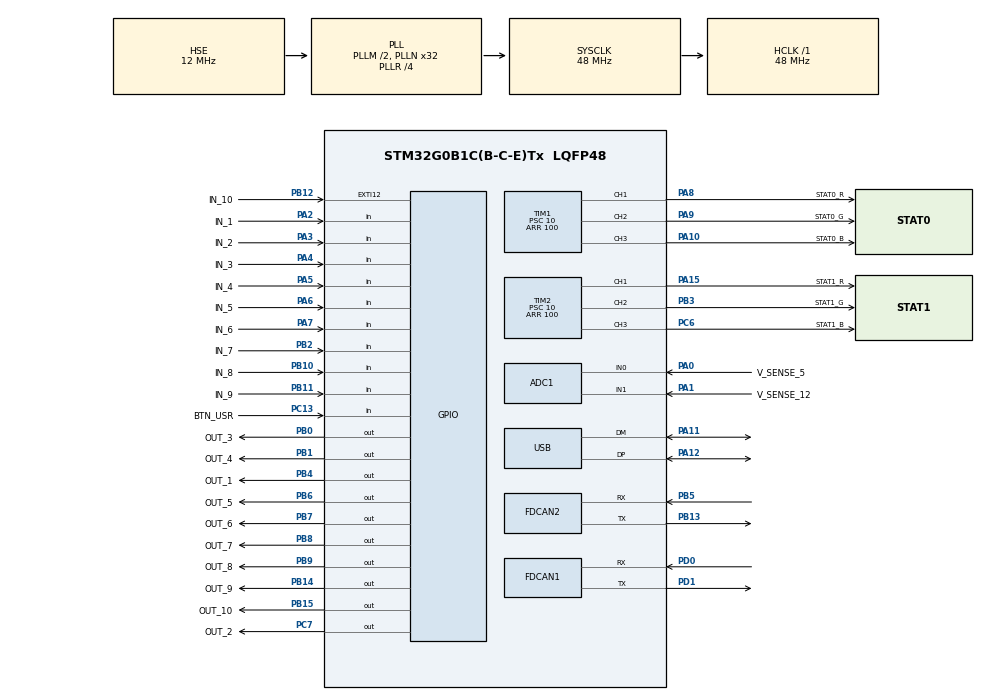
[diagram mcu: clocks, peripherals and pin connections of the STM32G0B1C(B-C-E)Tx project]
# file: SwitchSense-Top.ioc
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ADC1.ContinuousConvMode=ENABLE
ADC1.DMAContinuousRequests=ENABLE
ADC1.NbrOfConversion=1
ADC1.NbrOfConversionFlag=0
ADC1.OversamplingMode=ENABLE
ADC1.Ratio=ADC_OVERSAMPLING_RATIO_64
ADC1.RightBitShift=ADC_RIGHTBITSHIFT_2
ADC1.SamplingTimeCommon1=ADC_SAMPLETIME_7CYCLES_5
ADC1.SelectedChannel=ADC_CHANNEL_0|ADC_CHANNEL_1|ADC_CHANNEL_TEMPSENSOR|ADC_CHANNEL_VREFINT
ADC1.Sequencer=NOT_FULLY_CONFIGURABLE
ADC1.master=1
Dma.ADC1.0.Direction=DMA_PERIPH_TO_MEMORY
Dma.ADC1.0.EventEnable=DISABLE
Dma.ADC1.0.Instance=DMA1_Channel1
Dma.ADC1.0.MemDataAlignment=DMA_MDATAALIGN_HALFWORD
Dma.ADC1.0.MemInc=DMA_MINC_ENABLE
Dma.ADC1.0.Mode=DMA_CIRCULAR
Dma.ADC1.0.PeriphDataAlignment=DMA_PDATAALIGN_HALFWORD
Dma.ADC1.0.PeriphInc=DMA_PINC_DISABLE
Dma.ADC1.0.Polarity=HAL_DMAMUX_REQ_GEN_RISING
Dma.ADC1.0.Priority=DMA_PRIORITY_HIGH
Dma.ADC1.0.RequestNumber=1
Dma.ADC1.0.SignalID=NONE
Dma.ADC1.0.SyncEnable=DISABLE
Dma.ADC1.0.SyncPolarity=HAL_DMAMUX_SYNC_NO_EVENT
Dma.ADC1.0.SyncRequestNumber=1
Dma.ADC1.0.SyncSignalID=NONE
Dma.Request0=ADC1
FDCAN1.CalculateBaudRateNominal=250000
FDCAN1.CalculateTimeBitNominal=4000
FDCAN1.CalculateTimeQuantumNominal=250.0
FDCAN1.NominalPrescaler=12
FDCAN1.NominalTimeSeg1=13
FDCAN1.NominalTimeSeg2=2
FDCAN2.CalculateBaudRateNominal=500000
FDCAN2.CalculateTimeBitNominal=2000
FDCAN2.CalculateTimeQuantumNominal=125.0
FDCAN2.NominalPrescaler=6
FDCAN2.NominalTimeSeg1=13
FDCAN2.NominalTimeSeg2=2
Mcu.Family=STM32G0
Mcu.Name=STM32G0B1C(B-C-E)Tx
Mcu.Package=LQFP48
NVIC.ADC1_COMP_IRQn=true\:0\:0\:false\:false\:true\:true\:true\:true
NVIC.DMA1_Channel1_IRQn=true\:0\:0\:false\:false\:true\:false\:true\:true
NVIC.EXTI4_15_IRQn=true\:0\:0\:false\:false\:true\:true\:true\:true
NVIC.TIM16_FDCAN_IT0_IRQn=true\:0\:0\:false\:false\:true\:true\:true\:true
NVIC.TIM17_FDCAN_IT1_IRQn=true\:0\:0\:false\:false\:true\:true\:true\:true
PA0.GPIO_Label=V_SENSE_5
PA0.Mode=IN0
PA0.Signal=ADC1_IN0
PA1.GPIO_Label=V_SENSE_12
PA1.Mode=IN1
PA1.Signal=ADC1_IN1
PA10.GPIO_Label=STAT0_B
PA10.Signal=S_TIM1_CH3
PA11\ [PA9].Mode=Device
PA11\ [PA9].Signal=USB_DM
PA12\ [PA10].Mode=Device
PA12\ [PA10].Signal=USB_DP
PA13.Mode=Serial_Wire
PA13.Signal=SYS_SWDIO
PA14-BOOT0.Mode=Serial_Wire
PA14-BOOT0.Signal=SYS_SWCLK
PA15.GPIO_Label=STAT1_R
PA15.Signal=S_TIM2_CH1_ETR
PA2.GPIO_Label=IN_1
PA2.Signal=GPIO_Input
PA3.GPIO_Label=IN_2
PA3.Signal=GPIO_Input
PA4.GPIO_Label=IN_3
PA4.Signal=GPIO_Input
PA5.GPIO_Label=IN_4
PA5.Signal=GPIO_Input
PA6.GPIO_Label=IN_5
PA6.Signal=GPIO_Input
PA7.GPIO_Label=IN_6
PA7.Signal=GPIO_Input
PA8.GPIO_Label=STAT0_R
PA8.Signal=S_TIM1_CH1
PA9.GPIO_Label=STAT0_G
PA9.Signal=S_TIM1_CH2
PB0.GPIO_Label=OUT_3
PB0.Signal=GPIO_Output
PB1.GPIO_Label=OUT_4
PB1.Signal=GPIO_Output
PB10.GPIO_Label=IN_8
PB10.Signal=GPIO_Input
PB11.GPIO_Label=IN_9
PB11.Signal=GPIO_Input
PB12.GPIO_Label=IN_10
PB12.Signal=GPXTI12
PB13.Mode=FDCAN_Activate
PB13.Signal=FDCAN2_TX
PB14.GPIO_Label=OUT_9
PB14.Signal=GPIO_Output
PB15.GPIO_Label=OUT_10
PB15.Signal=GPIO_Output
PB2.GPIO_Label=IN_7
PB2.Signal=GPIO_Input
PB3.GPIO_Label=STAT1_G
PB3.Signal=S_TIM2_CH2
PB4.GPIO_Label=OUT_1
PB4.Signal=GPIO_Output
PB5.Mode=FDCAN_Activate
PB5.Signal=FDCAN2_RX
PB6.GPIO_Label=OUT_5
PB6.Signal=GPIO_Output
PB7.GPIO_Label=OUT_6
PB7.Signal=GPIO_Output
PB8.GPIO_Label=OUT_7
PB8.Signal=GPIO_Output
PB9.GPIO_Label=OUT_8
PB9.Signal=GPIO_Output
PC13.GPIO_Label=BTN_USR
PC13.Signal=GPIO_Input
PC6.GPIO_Label=STAT1_B
PC6.Signal=S_TIM2_CH3
PC7.GPIO_Label=OUT_2
PC7.Signal=GPIO_Output
PD0.Mode=FDCAN_Activate
PD0.Signal=FDCAN1_RX
PD1.Mode=FDCAN_Activate
PD1.Signal=FDCAN1_TX
PF0-OSC_IN\ (PF0).Mode=HSE-External-Oscillator
PF0-OSC_IN\ (PF0).Signal=RCC_OSC_IN
PF1-OSC_OUT\ (PF1).Mode=HSE-External-Oscillator
PF1-OSC_OUT\ (PF1).Signal=RCC_OSC_OUT
ProjectManager.HeapSize=0x200
ProjectManager.StackSize=0x400
ProjectManager.TargetToolchain=CMake
RCC.ADCFreq_Value=48000000
RCC.AHBFreq_Value=48000000
RCC.CortexFreq_Value=48000000
RCC.EXTERNAL_CLOCK_VALUE=48000
RCC.HCLKFreq_Value=48000000
RCC.HSE_VALUE=12000000
RCC.HSI48_VALUE=48000000
RCC.HSI_VALUE=16000000
RCC.PLLM=RCC_PLLM_DIV2
RCC.PLLN=32
RCC.PLLR=RCC_PLLR_DIV4
RCC.PLLSourceVirtual=RCC_PLLSOURCE_HSE
RCC.SYSCLKFreq_VALUE=48000000
RCC.SYSCLKSource=RCC_SYSCLKSOURCE_PLLCLK
RCC.USBFreq_Value=48000000
RCC.VCOOutputFreq_Value=192000000
SH.S_TIM1_CH1.0=TIM1_CH1,PWM Generation1 CH1
SH.S_TIM1_CH2.0=TIM1_CH2,PWM Generation2 CH2
SH.S_TIM1_CH3.0=TIM1_CH3,PWM Generation3 CH3
SH.S_TIM2_CH1_ETR.0=TIM2_CH1,PWM Generation1 CH1
SH.S_TIM2_CH2.0=TIM2_CH2,PWM Generation2 CH2
SH.S_TIM2_CH3.0=TIM2_CH3,PWM Generation3 CH3
TIM1.Channel-PWM\ Generation1\ CH1=TIM_CHANNEL_1
TIM1.Channel-PWM\ Generation2\ CH2=TIM_CHANNEL_2
TIM1.Channel-PWM\ Generation3\ CH3=TIM_CHANNEL_3
TIM1.Period=100
TIM1.Prescaler=10
TIM2.Channel-PWM\ Generation1\ CH1=TIM_CHANNEL_1
TIM2.Channel-PWM\ Generation2\ CH2=TIM_CHANNEL_2
TIM2.Channel-PWM\ Generation3\ CH3=TIM_CHANNEL_3
TIM2.Period=100
TIM2.Prescaler=10
TIM6.Period=9999
TIM6.Prescaler=479
VP_ADC1_TempSens_Input.Mode=IN-TempSens
VP_ADC1_Vref_Input.Mode=IN-Vrefint
VP_SYS_VS_DBSignals.Mode=DisableDeadBatterySignals
VP_TIM6_VS_ClockSourceINT.Mode=Enable_Timer
board=custom

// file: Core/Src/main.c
/* USER CODE BEGIN Header */
/**
  ******************************************************************************
  * @file           : main.c
  * @brief          : Main program body
  ******************************************************************************
  * @attention
  *
  * Copyright (c) 2026 STMicroelectronics.
  * All rights reserved.
  *
  * This software is licensed under terms that can be found in the LICENSE file
  * in the root directory of this software component.
  * If no LICENSE file comes with this software, it is provided AS-IS.
  *
  ******************************************************************************
  */
/* USER CODE END Header */
#include "main.h"

/* USER CODE BEGIN Includes */

#include "LV3_CAN.h"

/* USER CODE END Includes */

ADC_HandleTypeDef hadc1;
DMA_HandleTypeDef hdma_adc1;

FDCAN_HandleTypeDef hfdcan1;
FDCAN_HandleTypeDef hfdcan2;

TIM_HandleTypeDef htim1;
TIM_HandleTypeDef htim2;
TIM_HandleTypeDef htim6;

PCD_HandleTypeDef hpcd_USB_DRD_FS;

/* USER CODE BEGIN PV */

// --- LV3 CAN bindings (module id 20) ---
uint32_t sw_service_brake_val = 0;
uint32_t signal_left_val = 0;
uint32_t signal_right_val = 0;
uint32_t hv_fault_val = 0;

const LV3_CAN_Binding lv3_can_bindings[] = {
    {&sw_service_brake_val, sw_service_brake, LV3_CAN_BindMode_Read},
    {&signal_left_val, signal_left, LV3_CAN_BindMode_Read},
    {&signal_right_val, signal_right, LV3_CAN_BindMode_Read},
    {&hv_fault_val, hv_fault, LV3_CAN_BindMode_Read},
};
const unsigned int lv3_can_bindings_count = sizeof(lv3_can_bindings) / sizeof(LV3_CAN_Binding);
/* USER CODE END PV */

void SystemClock_Config(void);
static void MX_GPIO_Init(void);
static void MX_DMA_Init(void);
static void MX_FDCAN1_Init(void);
static void MX_USB_DRD_FS_PCD_Init(void);
static void MX_TIM1_Init(void);
static void MX_TIM2_Init(void);
static void MX_ADC1_Init(void);
static void MX_FDCAN2_Init(void);
static void MX_TIM6_Init(void);

int main(void)
{

  /* MCU Configuration--------------------------------------------------------*/

  /* Reset of all peripherals, Initializes the Flash interface and the Systick. */
  HAL_Init();

  /* Configure the system clock */
  SystemClock_Config();

  /* Initialize all configured peripherals */
  MX_GPIO_Init();
  MX_DMA_Init();
  MX_FDCAN1_Init();
  MX_USB_DRD_FS_PCD_Init();
  MX_TIM1_Init();
  MX_TIM2_Init();
  MX_ADC1_Init();
  MX_FDCAN2_Init();
  MX_TIM6_Init();
  /* USER CODE BEGIN 2 */

  LV3_CAN_Init(20, LV3_CAN_BusMode_Normal, lv3_can_bindings, lv3_can_bindings_count);

  /* USER CODE END 2 */

  /* Infinite loop */
  while (1)
  {

    /* USER CODE BEGIN 3 */

    // --- LV3 CAN ---
    LV3_CAN_Loop();

    // --- Apply outputs ---
    // Brake lights
    HAL_GPIO_WritePin(OUT_1_GPIO_Port, OUT_1_Pin, sw_service_brake_val);
    HAL_GPIO_WritePin(OUT_3_GPIO_Port, OUT_3_Pin, sw_service_brake_val);
    HAL_GPIO_WritePin(OUT_5_GPIO_Port, OUT_5_Pin, sw_service_brake_val);

    // Turn signals
    HAL_GPIO_WritePin(OUT_2_GPIO_Port, OUT_2_Pin, signal_left_val);
    HAL_GPIO_WritePin(OUT_7_GPIO_Port, OUT_7_Pin, signal_left_val);
    HAL_GPIO_WritePin(OUT_4_GPIO_Port, OUT_4_Pin, signal_right_val);
    HAL_GPIO_WritePin(OUT_8_GPIO_Port, OUT_8_Pin, signal_right_val);

    // HV fault indicator
    if (hv_fault_val) {
      HAL_GPIO_WritePin(OUT_6_GPIO_Port, OUT_6_Pin, (HAL_GetTick() / 200) % 2);
    } else {
      HAL_GPIO_WritePin(OUT_6_GPIO_Port, OUT_6_Pin, GPIO_PIN_RESET);
    }
  }
  /* USER CODE END 3 */
}

void SystemClock_Config(void)
{
  RCC_OscInitTypeDef RCC_OscInitStruct = {0};
  RCC_ClkInitTypeDef RCC_ClkInitStruct = {0};

  /** Configure the main internal regulator output voltage
  */
  HAL_PWREx_ControlVoltageScaling(PWR_REGULATOR_VOLTAGE_SCALE1);

  /** Initializes the RCC Oscillators according to the specified parameters
  * in the RCC_OscInitTypeDef structure.
  */
  RCC_OscInitStruct.OscillatorType = RCC_OSCILLATORTYPE_HSE|RCC_OSCILLATORTYPE_HSI48;
  RCC_OscInitStruct.HSEState = RCC_HSE_ON;
  RCC_OscInitStruct.HSI48State = RCC_HSI48_ON;
  RCC_OscInitStruct.PLL.PLLState = RCC_PLL_ON;
  RCC_OscInitStruct.PLL.PLLSource = RCC_PLLSOURCE_HSE;
  RCC_OscInitStruct.PLL.PLLM = RCC_PLLM_DIV2;
  RCC_OscInitStruct.PLL.PLLN = 32;
  RCC_OscInitStruct.PLL.PLLP = RCC_PLLP_DIV2;
  RCC_OscInitStruct.PLL.PLLQ = RCC_PLLQ_DIV2;
  RCC_OscInitStruct.PLL.PLLR = RCC_PLLR_DIV4;
  if (HAL_RCC_OscConfig(&RCC_OscInitStruct) != HAL_OK)
  {
    Error_Handler();
  }

  /** Initializes the CPU, AHB and APB buses clocks
  */
  RCC_ClkInitStruct.ClockType = RCC_CLOCKTYPE_HCLK|RCC_CLOCKTYPE_SYSCLK
                              |RCC_CLOCKTYPE_PCLK1;
  RCC_ClkInitStruct.SYSCLKSource = RCC_SYSCLKSOURCE_PLLCLK;
  RCC_ClkInitStruct.AHBCLKDivider = RCC_SYSCLK_DIV1;
  RCC_ClkInitStruct.APB1CLKDivider = RCC_HCLK_DIV1;

  if (HAL_RCC_ClockConfig(&RCC_ClkInitStruct, FLASH_LATENCY_1) != HAL_OK)
  {
    Error_Handler();
  }
}

static void MX_ADC1_Init(void)
{

  ADC_ChannelConfTypeDef sConfig = {0};

  /** Configure the global features of the ADC (Clock, Resolution, Data Alignment and number of conversion)
  */
  hadc1.Instance = ADC1;
  hadc1.Init.ClockPrescaler = ADC_CLOCK_SYNC_PCLK_DIV2;
  hadc1.Init.Resolution = ADC_RESOLUTION_12B;
  hadc1.Init.DataAlign = ADC_DATAALIGN_RIGHT;
  hadc1.Init.ScanConvMode = ADC_SCAN_SEQ_FIXED;
  hadc1.Init.EOCSelection = ADC_EOC_SINGLE_CONV;
  hadc1.Init.LowPowerAutoWait = DISABLE;
  hadc1.Init.LowPowerAutoPowerOff = DISABLE;
  hadc1.Init.ContinuousConvMode = ENABLE;
  hadc1.Init.NbrOfConversion = 1;
  hadc1.Init.ExternalTrigConv = ADC_SOFTWARE_START;
  hadc1.Init.ExternalTrigConvEdge = ADC_EXTERNALTRIGCONVEDGE_NONE;
  hadc1.Init.DMAContinuousRequests = ENABLE;
  hadc1.Init.Overrun = ADC_OVR_DATA_PRESERVED;
  hadc1.Init.SamplingTimeCommon1 = ADC_SAMPLETIME_7CYCLES_5;
  hadc1.Init.OversamplingMode = ENABLE;
  hadc1.Init.Oversampling.Ratio = ADC_OVERSAMPLING_RATIO_64;
  hadc1.Init.Oversampling.RightBitShift = ADC_RIGHTBITSHIFT_2;
  hadc1.Init.Oversampling.TriggeredMode = ADC_TRIGGEREDMODE_SINGLE_TRIGGER;
  hadc1.Init.TriggerFrequencyMode = ADC_TRIGGER_FREQ_HIGH;
  if (HAL_ADC_Init(&hadc1) != HAL_OK)
  {
    Error_Handler();
  }

  /** Configure Regular Channel
  */
  sConfig.Channel = ADC_CHANNEL_0;
  sConfig.Rank = ADC_RANK_CHANNEL_NUMBER;
  if (HAL_ADC_ConfigChannel(&hadc1, &sConfig) != HAL_OK)
  {
    Error_Handler();
  }

  /** Configure Regular Channel
  */
  sConfig.Channel = ADC_CHANNEL_1;
  if (HAL_ADC_ConfigChannel(&hadc1, &sConfig) != HAL_OK)
  {
    Error_Handler();
  }

  /** Configure Regular Channel
  */
  sConfig.Channel = ADC_CHANNEL_TEMPSENSOR;
  if (HAL_ADC_ConfigChannel(&hadc1, &sConfig) != HAL_OK)
  {
    Error_Handler();
  }

  /** Configure Regular Channel
  */
  sConfig.Channel = ADC_CHANNEL_VREFINT;
  if (HAL_ADC_ConfigChannel(&hadc1, &sConfig) != HAL_OK)
  {
    Error_Handler();
  }

}

static void MX_FDCAN1_Init(void)
{

  hfdcan1.Instance = FDCAN1;
  hfdcan1.Init.ClockDivider = FDCAN_CLOCK_DIV1;
  hfdcan1.Init.FrameFormat = FDCAN_FRAME_CLASSIC;
  hfdcan1.Init.Mode = FDCAN_MODE_NORMAL;
  hfdcan1.Init.AutoRetransmission = DISABLE;
  hfdcan1.Init.TransmitPause = DISABLE;
  hfdcan1.Init.ProtocolException = DISABLE;
  hfdcan1.Init.NominalPrescaler = 12;
  hfdcan1.Init.NominalSyncJumpWidth = 1;
  hfdcan1.Init.NominalTimeSeg1 = 13;
  hfdcan1.Init.NominalTimeSeg2 = 2;
  hfdcan1.Init.DataPrescaler = 1;
  hfdcan1.Init.DataSyncJumpWidth = 1;
  hfdcan1.Init.DataTimeSeg1 = 1;
  hfdcan1.Init.DataTimeSeg2 = 1;
  hfdcan1.Init.StdFiltersNbr = 0;
  hfdcan1.Init.ExtFiltersNbr = 0;
  hfdcan1.Init.TxFifoQueueMode = FDCAN_TX_FIFO_OPERATION;
  if (HAL_FDCAN_Init(&hfdcan1) != HAL_OK)
  {
    Error_Handler();
  }

}

static void MX_FDCAN2_Init(void)
{

  hfdcan2.Instance = FDCAN2;
  hfdcan2.Init.ClockDivider = FDCAN_CLOCK_DIV1;
  hfdcan2.Init.FrameFormat = FDCAN_FRAME_CLASSIC;
  hfdcan2.Init.Mode = FDCAN_MODE_NORMAL;
  hfdcan2.Init.AutoRetransmission = DISABLE;
  hfdcan2.Init.TransmitPause = DISABLE;
  hfdcan2.Init.ProtocolException = DISABLE;
  hfdcan2.Init.NominalPrescaler = 6;
  hfdcan2.Init.NominalSyncJumpWidth = 1;
  hfdcan2.Init.NominalTimeSeg1 = 13;
  hfdcan2.Init.NominalTimeSeg2 = 2;
  hfdcan2.Init.DataPrescaler = 1;
  hfdcan2.Init.DataSyncJumpWidth = 1;
  hfdcan2.Init.DataTimeSeg1 = 1;
  hfdcan2.Init.DataTimeSeg2 = 1;
  hfdcan2.Init.StdFiltersNbr = 0;
  hfdcan2.Init.ExtFiltersNbr = 0;
  hfdcan2.Init.TxFifoQueueMode = FDCAN_TX_FIFO_OPERATION;
  if (HAL_FDCAN_Init(&hfdcan2) != HAL_OK)
  {
    Error_Handler();
  }

}

static void MX_TIM1_Init(void)
{

  TIM_MasterConfigTypeDef sMasterConfig = {0};
  TIM_OC_InitTypeDef sConfigOC = {0};
  TIM_BreakDeadTimeConfigTypeDef sBreakDeadTimeConfig = {0};

  htim1.Instance = TIM1;
  htim1.Init.Prescaler = 10;
  htim1.Init.CounterMode = TIM_COUNTERMODE_UP;
  htim1.Init.Period = 100;
  htim1.Init.ClockDivision = TIM_CLOCKDIVISION_DIV1;
  htim1.Init.RepetitionCounter = 0;
  htim1.Init.AutoReloadPreload = TIM_AUTORELOAD_PRELOAD_DISABLE;
  if (HAL_TIM_PWM_Init(&htim1) != HAL_OK)
  {
    Error_Handler();
  }
  sMasterConfig.MasterOutputTrigger = TIM_TRGO_RESET;
  sMasterConfig.MasterOutputTrigger2 = TIM_TRGO2_RESET;
  sMasterConfig.MasterSlaveMode = TIM_MASTERSLAVEMODE_DISABLE;
  if (HAL_TIMEx_MasterConfigSynchronization(&htim1, &sMasterConfig) != HAL_OK)
  {
    Error_Handler();
  }
  sConfigOC.OCMode = TIM_OCMODE_PWM1;
  sConfigOC.Pulse = 0;
  sConfigOC.OCPolarity = TIM_OCPOLARITY_HIGH;
  sConfigOC.OCNPolarity = TIM_OCNPOLARITY_HIGH;
  sConfigOC.OCFastMode = TIM_OCFAST_DISABLE;
  sConfigOC.OCIdleState = TIM_OCIDLESTATE_RESET;
  sConfigOC.OCNIdleState = TIM_OCNIDLESTATE_RESET;
  if (HAL_TIM_PWM_ConfigChannel(&htim1, &sConfigOC, TIM_CHANNEL_1) != HAL_OK)
  {
    Error_Handler();
  }
  if (HAL_TIM_PWM_ConfigChannel(&htim1, &sConfigOC, TIM_CHANNEL_2) != HAL_OK)
  {
    Error_Handler();
  }
  if (HAL_TIM_PWM_ConfigChannel(&htim1, &sConfigOC, TIM_CHANNEL_3) != HAL_OK)
  {
    Error_Handler();
  }
  sBreakDeadTimeConfig.OffStateRunMode = TIM_OSSR_DISABLE;
  sBreakDeadTimeConfig.OffStateIDLEMode = TIM_OSSI_DISABLE;
  sBreakDeadTimeConfig.LockLevel = TIM_LOCKLEVEL_OFF;
  sBreakDeadTimeConfig.DeadTime = 0;
  sBreakDeadTimeConfig.BreakState = TIM_BREAK_DISABLE;
  sBreakDeadTimeConfig.BreakPolarity = TIM_BREAKPOLARITY_HIGH;
  sBreakDeadTimeConfig.BreakFilter = 0;
  sBreakDeadTimeConfig.BreakAFMode = TIM_BREAK_AFMODE_INPUT;
  sBreakDeadTimeConfig.Break2State = TIM_BREAK2_DISABLE;
  sBreakDeadTimeConfig.Break2Polarity = TIM_BREAK2POLARITY_HIGH;
  sBreakDeadTimeConfig.Break2Filter = 0;
  sBreakDeadTimeConfig.Break2AFMode = TIM_BREAK_AFMODE_INPUT;
  sBreakDeadTimeConfig.AutomaticOutput = TIM_AUTOMATICOUTPUT_DISABLE;
  if (HAL_TIMEx_ConfigBreakDeadTime(&htim1, &sBreakDeadTimeConfig) != HAL_OK)
  {
    Error_Handler();
  }
  HAL_TIM_MspPostInit(&htim1);

}

static void MX_TIM2_Init(void)
{

  TIM_MasterConfigTypeDef sMasterConfig = {0};
  TIM_OC_InitTypeDef sConfigOC = {0};

  htim2.Instance = TIM2;
  htim2.Init.Prescaler = 10;
  htim2.Init.CounterMode = TIM_COUNTERMODE_UP;
  htim2.Init.Period = 100;
  htim2.Init.ClockDivision = TIM_CLOCKDIVISION_DIV1;
  htim2.Init.AutoReloadPreload = TIM_AUTORELOAD_PRELOAD_DISABLE;
  if (HAL_TIM_PWM_Init(&htim2) != HAL_OK)
  {
    Error_Handler();
  }
  sMasterConfig.MasterOutputTrigger = TIM_TRGO_RESET;
  sMasterConfig.MasterSlaveMode = TIM_MASTERSLAVEMODE_DISABLE;
  if (HAL_TIMEx_MasterConfigSynchronization(&htim2, &sMasterConfig) != HAL_OK)
  {
    Error_Handler();
  }
  sConfigOC.OCMode = TIM_OCMODE_PWM1;
  sConfigOC.Pulse = 0;
  sConfigOC.OCPolarity = TIM_OCPOLARITY_HIGH;
  sConfigOC.OCFastMode = TIM_OCFAST_DISABLE;
  if (HAL_TIM_PWM_ConfigChannel(&htim2, &sConfigOC, TIM_CHANNEL_1) != HAL_OK)
  {
    Error_Handler();
  }
  if (HAL_TIM_PWM_ConfigChannel(&htim2, &sConfigOC, TIM_CHANNEL_2) != HAL_OK)
  {
    Error_Handler();
  }
  if (HAL_TIM_PWM_ConfigChannel(&htim2, &sConfigOC, TIM_CHANNEL_3) != HAL_OK)
  {
    Error_Handler();
  }
  HAL_TIM_MspPostInit(&htim2);

}

static void MX_TIM6_Init(void)
{

  TIM_MasterConfigTypeDef sMasterConfig = {0};

  htim6.Instance = TIM6;
  htim6.Init.Prescaler = 479;
  htim6.Init.CounterMode = TIM_COUNTERMODE_UP;
  htim6.Init.Period = 9999;
  htim6.Init.AutoReloadPreload = TIM_AUTORELOAD_PRELOAD_DISABLE;
  if (HAL_TIM_Base_Init(&htim6) != HAL_OK)
  {
    Error_Handler();
  }
  sMasterConfig.MasterOutputTrigger = TIM_TRGO_RESET;
  sMasterConfig.MasterSlaveMode = TIM_MASTERSLAVEMODE_DISABLE;
  if (HAL_TIMEx_MasterConfigSynchronization(&htim6, &sMasterConfig) != HAL_OK)
  {
    Error_Handler();
  }

}

static void MX_USB_DRD_FS_PCD_Init(void)
{

  hpcd_USB_DRD_FS.Instance = USB_DRD_FS;
  hpcd_USB_DRD_FS.Init.dev_endpoints = 8;
  hpcd_USB_DRD_FS.Init.Host_channels = 8;
  hpcd_USB_DRD_FS.Init.speed = PCD_SPEED_FULL;
  hpcd_USB_DRD_FS.Init.phy_itface = PCD_PHY_EMBEDDED;
  hpcd_USB_DRD_FS.Init.Sof_enable = DISABLE;
  hpcd_USB_DRD_FS.Init.low_power_enable = DISABLE;
  hpcd_USB_DRD_FS.Init.lpm_enable = DISABLE;
  hpcd_USB_DRD_FS.Init.battery_charging_enable = DISABLE;
  hpcd_USB_DRD_FS.Init.vbus_sensing_enable = DISABLE;
  hpcd_USB_DRD_FS.Init.bulk_doublebuffer_enable = DISABLE;
  hpcd_USB_DRD_FS.Init.iso_singlebuffer_enable = DISABLE;
  if (HAL_PCD_Init(&hpcd_USB_DRD_FS) != HAL_OK)
  {
    Error_Handler();
  }

}

static void MX_DMA_Init(void)
{

  /* DMA controller clock enable */
  __HAL_RCC_DMA1_CLK_ENABLE();

  /* DMA interrupt init */
  /* DMA1_Channel1_IRQn interrupt configuration */
  HAL_NVIC_SetPriority(DMA1_Channel1_IRQn, 0, 0);
  HAL_NVIC_EnableIRQ(DMA1_Channel1_IRQn);

}

static void MX_GPIO_Init(void)
{
  GPIO_InitTypeDef GPIO_InitStruct = {0};

  /* GPIO Ports Clock Enable */
  __HAL_RCC_GPIOC_CLK_ENABLE();
  __HAL_RCC_GPIOF_CLK_ENABLE();
  __HAL_RCC_GPIOA_CLK_ENABLE();
  __HAL_RCC_GPIOB_CLK_ENABLE();
  __HAL_RCC_GPIOD_CLK_ENABLE();

  /*Configure GPIO pin Output Level */
  HAL_GPIO_WritePin(GPIOB, OUT_3_Pin|OUT_4_Pin|OUT_9_Pin|OUT_10_Pin
                          |OUT_1_Pin|OUT_5_Pin|OUT_6_Pin|OUT_7_Pin
                          |OUT_8_Pin, GPIO_PIN_RESET);

  /*Configure GPIO pin Output Level */
  HAL_GPIO_WritePin(OUT_2_GPIO_Port, OUT_2_Pin, GPIO_PIN_RESET);

  /*Configure GPIO pin : BTN_USR_Pin */
  GPIO_InitStruct.Pin = BTN_USR_Pin;
  GPIO_InitStruct.Mode = GPIO_MODE_INPUT;
  GPIO_InitStruct.Pull = GPIO_NOPULL;
  HAL_GPIO_Init(BTN_USR_GPIO_Port, &GPIO_InitStruct);

  /*Configure GPIO pins : IN_1_Pin IN_2_Pin IN_3_Pin IN_4_Pin
                           IN_5_Pin IN_6_Pin */
  GPIO_InitStruct.Pin = IN_1_Pin|IN_2_Pin|IN_3_Pin|IN_4_Pin
                          |IN_5_Pin|IN_6_Pin;
  GPIO_InitStruct.Mode = GPIO_MODE_INPUT;
  GPIO_InitStruct.Pull = GPIO_NOPULL;
  HAL_GPIO_Init(GPIOA, &GPIO_InitStruct);

  /*Configure GPIO pins : OUT_3_Pin OUT_4_Pin OUT_9_Pin OUT_10_Pin
                           OUT_1_Pin OUT_5_Pin OUT_6_Pin OUT_7_Pin
                           OUT_8_Pin */
  GPIO_InitStruct.Pin = OUT_3_Pin|OUT_4_Pin|OUT_9_Pin|OUT_10_Pin
                          |OUT_1_Pin|OUT_5_Pin|OUT_6_Pin|OUT_7_Pin
                          |OUT_8_Pin;
  GPIO_InitStruct.Mode = GPIO_MODE_OUTPUT_PP;
  GPIO_InitStruct.Pull = GPIO_NOPULL;
  GPIO_InitStruct.Speed = GPIO_SPEED_FREQ_LOW;
  HAL_GPIO_Init(GPIOB, &GPIO_InitStruct);

  /*Configure GPIO pins : IN_7_Pin IN_8_Pin IN_9_Pin */
  GPIO_InitStruct.Pin = IN_7_Pin|IN_8_Pin|IN_9_Pin;
  GPIO_InitStruct.Mode = GPIO_MODE_INPUT;
  GPIO_InitStruct.Pull = GPIO_NOPULL;
  HAL_GPIO_Init(GPIOB, &GPIO_InitStruct);

  /*Configure GPIO pin : IN_10_Pin */
  GPIO_InitStruct.Pin = IN_10_Pin;
  GPIO_InitStruct.Mode = GPIO_MODE_IT_RISING;
  GPIO_InitStruct.Pull = GPIO_NOPULL;
  HAL_GPIO_Init(IN_10_GPIO_Port, &GPIO_InitStruct);

  /*Configure GPIO pin : OUT_2_Pin */
  GPIO_InitStruct.Pin = OUT_2_Pin;
  GPIO_InitStruct.Mode = GPIO_MODE_OUTPUT_PP;
  GPIO_InitStruct.Pull = GPIO_NOPULL;
  GPIO_InitStruct.Speed = GPIO_SPEED_FREQ_LOW;
  HAL_GPIO_Init(OUT_2_GPIO_Port, &GPIO_InitStruct);

  /* EXTI interrupt init*/
  HAL_NVIC_SetPriority(EXTI4_15_IRQn, 0, 0);
  HAL_NVIC_EnableIRQ(EXTI4_15_IRQn);

}

void Error_Handler(void)
{
  __disable_irq();
  while (1)
  {
  }
}
